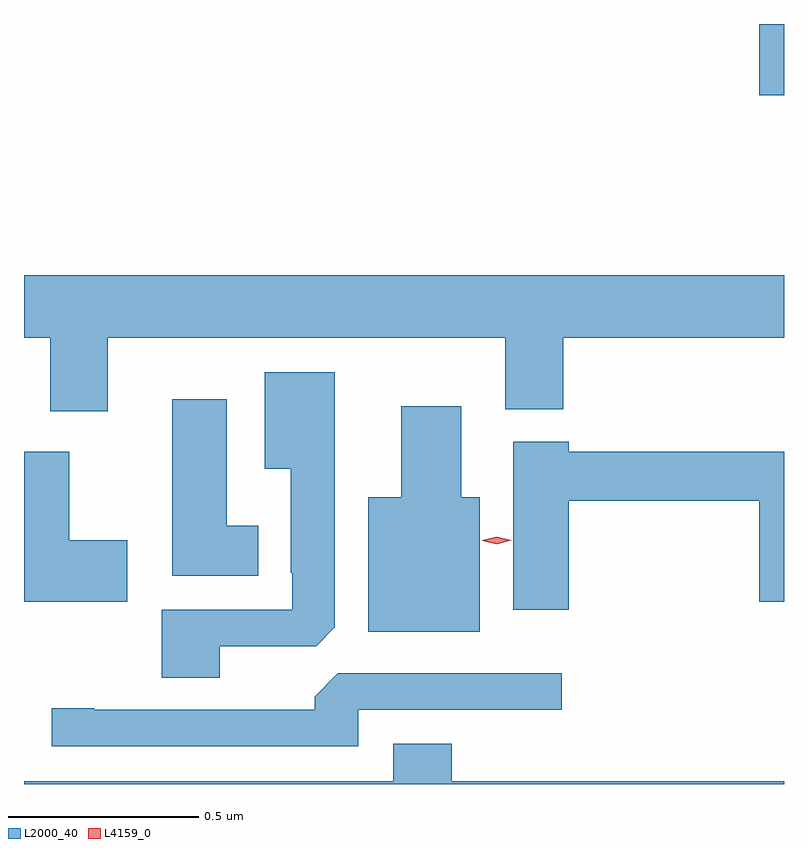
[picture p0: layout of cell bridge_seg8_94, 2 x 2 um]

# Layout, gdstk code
import gdstk
lib = gdstk.Library(unit=1e-6, precision=1e-09)
def R(c, l, rs):  # rectangles x0, y0, x1, y1
    for r in rs: c.add(gdstk.rectangle(r[:2], r[2:], *l))
def P(c, l, *ps):  # polygons
    for p in ps: c.add(gdstk.Polygon(p, *l))
L2000_40 = (2000, 40)
L4159_0 = (4159, 0)

bridge_seg8_94 = lib.new_cell('bridge_seg8_94')
R(bridge_seg8_94, L2000_40, [(782.048,1103.817,782.113,1104.005)])
P(bridge_seg8_94, L2000_40, [(780.334,1103.18),(781.379,1103.18),(781.379,1102.991),(781.532,1102.991),(781.532,1103.18),(782.113,1103.18),(782.113,1103.344),(780.113,1103.344),(780.113,1103.18),(780.182,1103.18),(780.182,1102.986),(780.334,1102.986)],
  [(780.628,1102.368),(780.882,1102.368),(780.931,1102.417),(780.931,1103.089),(780.746,1103.089),(780.746,1102.835),(780.815,1102.835),(780.815,1102.561),(780.819,1102.561),(780.819,1102.464),(780.476,1102.464),(780.476,1102.285),(780.628,1102.285)],
  [(780.73,1102.684),(780.646,1102.684),(780.646,1103.017),(780.503,1103.017),(780.503,1102.553),(780.73,1102.553)],
  [(781.312,1102.759),(781.264,1102.759),(781.264,1102.999),(781.106,1102.999),(781.106,1102.759),(781.019,1102.759),(781.019,1102.406),(781.312,1102.406)],
  [(781.547,1102.75),(782.048,1102.75),(782.048,1102.485),(782.113,1102.485),(782.113,1102.879),(781.547,1102.879),(781.547,1102.906),(781.4,1102.906),(781.4,1102.464),(781.547,1102.464)],
  [(780.385,1102.647),(780.232,1102.647),(780.232,1102.879),(780.113,1102.879),(780.113,1102.484),(780.385,1102.484)],
  [(780.993,1102.2),(781.528,1102.2),(781.528,1102.296),(780.939,1102.296),(780.878,1102.234),(780.878,1102.2),(780.298,1102.2),(780.298,1102.205),(780.186,1102.205),(780.186,1102.104),(780.993,1102.104)],
  [(782.113,1102.012),(781.238,1102.012),(781.238,1102.111),(781.085,1102.111),(781.085,1102.012),(780.113,1102.012),(780.113,1102.005),(782.113,1102.005)])
P(bridge_seg8_94, L4159_0, [(781.357,1102.636),(781.319,1102.645),(781.319,1102.645),(781.319,1102.646),(781.357,1102.656),(781.395,1102.647),(781.396,1102.647),(781.395,1102.647)])

lib.write_gds('bridge_seg8_94.gds')
